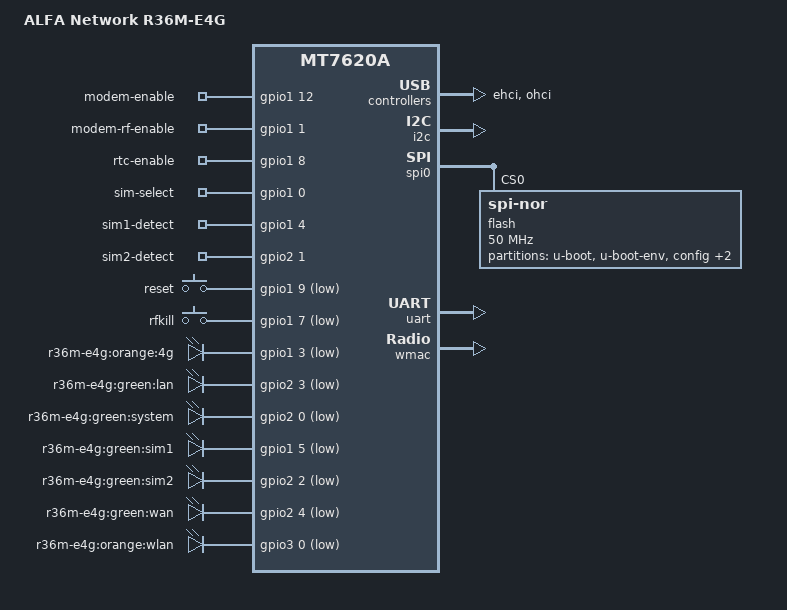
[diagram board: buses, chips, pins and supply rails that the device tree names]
// SPDX-License-Identifier: GPL-2.0-or-later OR MIT
/dts-v1/;

#include "mt7620a.dtsi"

#include <dt-bindings/gpio/gpio.h>
#include <dt-bindings/input/input.h>

/ {
	compatible = "alfa-network,r36m-e4g", "ralink,mt7620a-soc";
	model = "ALFA Network R36M-E4G";

	aliases {
		label-mac-device = &wmac;
		led-boot = &led_system;
		led-failsafe = &led_system;
		led-running = &led_system;
		led-upgrade = &led_system;
	};

	chosen {
		bootargs = "console=ttyS1,115200";
	};

	gpio-export {
		compatible = "gpio-export";
		#size-cells = <0>;

		modem-enable {
			gpio-export,name = "modem-enable";
			gpio-export,output = <1>;
			gpios = <&gpio1 12 GPIO_ACTIVE_HIGH>;
		};

		modem-rf-enable {
			gpio-export,name = "modem-rf-enable";
			gpio-export,output = <1>;
			gpios = <&gpio1 1 GPIO_ACTIVE_HIGH>;
		};

		rtc-enable {
			gpio-export,name = "rtc-enable";
			gpio-export,output = <1>;
			gpio-export,direction_may_change = <1>;
			gpios = <&gpio1 8 GPIO_ACTIVE_HIGH>;
		};

		sim-select {
			gpio-export,name = "sim-select";
			gpio-export,output = <0>;
			gpios = <&gpio1 0 GPIO_ACTIVE_HIGH>;
		};

		sim1-detect {
			gpio-export,name = "sim1-detect";
			gpios = <&gpio1 4 GPIO_ACTIVE_HIGH>;
		};

		sim2-detect {
			gpio-export,name = "sim2-detect";
			gpios = <&gpio2 1 GPIO_ACTIVE_HIGH>;
		};
	};

	keys {
		compatible = "gpio-keys";

		reset {
			label = "reset";
			gpios = <&gpio1 9 GPIO_ACTIVE_LOW>;
			linux,code = <KEY_RESTART>;
		};

		rfkill {
			label = "rfkill";
			gpios = <&gpio1 7 GPIO_ACTIVE_LOW>;
			linux,code = <KEY_RFKILL>;
		};
	};

	leds {
		compatible = "gpio-leds";

		4g {
			label = "r36m-e4g:orange:4g";
			gpios = <&gpio1 3 GPIO_ACTIVE_LOW>;
		};

		lan {
			label = "r36m-e4g:green:lan";
			gpios = <&gpio2 3 GPIO_ACTIVE_LOW>;
		};

		led_system: system {
			label = "r36m-e4g:green:system";
			gpios = <&gpio2 0 GPIO_ACTIVE_LOW>;
			default-state = "keep";
		};

		sim1 {
			label = "r36m-e4g:green:sim1";
			gpios = <&gpio1 5 GPIO_ACTIVE_LOW>;
			default-state = "keep";
		};

		sim2 {
			label = "r36m-e4g:green:sim2";
			gpios = <&gpio2 2 GPIO_ACTIVE_LOW>;
			default-state = "keep";
		};

		wan {
			label = "r36m-e4g:green:wan";
			gpios = <&gpio2 4 GPIO_ACTIVE_LOW>;
		};

		wlan {
			label = "r36m-e4g:orange:wlan";
			gpios = <&gpio3 0 GPIO_ACTIVE_LOW>;
			linux,default-trigger = "phy0radio";
		};
	};
};

&ehci {
	status = "okay";
};

&ethernet {
	mtd-mac-address = <&factory 0x28>;
};

&gpio1 {
	status = "okay";
};

&gpio2 {
	status = "okay";
};

&gpio3 {
	status = "okay";
};

&gsw {
	mediatek,port4 = "ephy";
};

&i2c {
	status = "okay";
};

&ohci {
	status = "okay";
};

&pinctrl {
	state_default: pinctrl0 {
		gpio {
			ralink,group = "ephy", "pcie", "rgmii1", "wled";
			ralink,function = "gpio";
		};
	};
};

&spi0 {
	status = "okay";

	flash@0 {
		compatible = "jedec,spi-nor";
		reg = <0>;
		spi-max-frequency = <50000000>;
		m25p,fast-read;

		partitions {
			compatible = "fixed-partitions";
			#address-cells = <1>;
			#size-cells = <1>;

			partition@0 {
				label = "u-boot";
				reg = <0x0 0x30000>;
				read-only;
			};

			partition@30000 {
				label = "u-boot-env";
				reg = <0x30000 0x1000>;
			};

			partition@31000 {
				label = "config";
				reg = <0x31000 0xf000>;
				read-only;
			};

			factory: partition@40000 {
				label = "factory";
				reg = <0x40000 0x10000>;
				read-only;
			};

			partition@50000 {
				compatible = "denx,uimage";
				label = "firmware";
				reg = <0x50000 0xfb0000>;
			};
		};
	};
};

&uart {
	status = "okay";
};

&wmac {
	ralink,mtd-eeprom = <&factory 0>;
};
